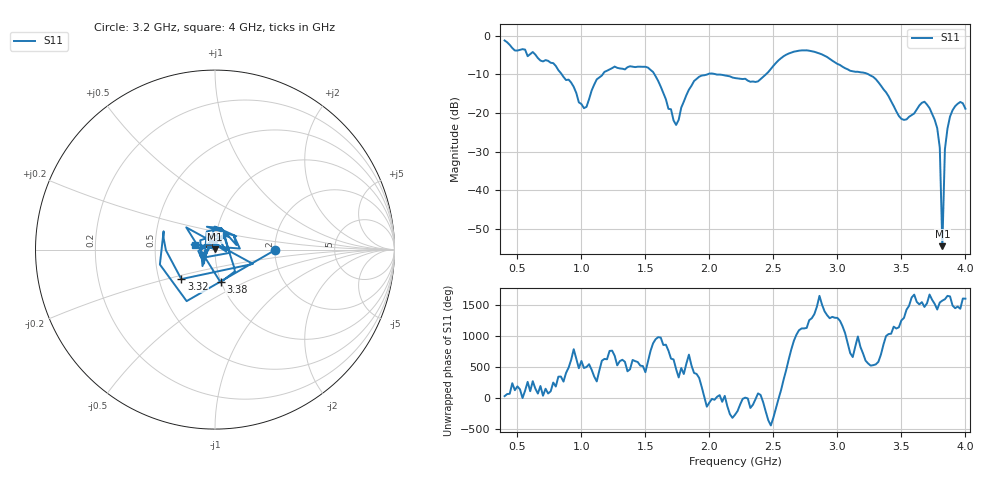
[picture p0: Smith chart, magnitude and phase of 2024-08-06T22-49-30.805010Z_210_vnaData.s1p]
!Created with skrf (http://scikit-rf.org).
# Hz S RI R 50.0
!freq ReS11 ImS11
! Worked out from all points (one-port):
!   181 points, 400 MHz to 4 GHz, reference 50 ohm
!   lowest |S11| = -54.5 dB at 3.82 GHz (marker M1), VSWR 1.00, Z = 49.9 + j0.134 ohm
!   |S11| at or under -10 dB: 1.571 GHz to 1.986 GHz (414.9 MHz wide, 23.3 % of centre); 2.051 GHz to 2.442 GHz (390.7 MHz wide, 17.4 % of centre); 3.243 GHz to end of sweep (the widest 3 of 4)
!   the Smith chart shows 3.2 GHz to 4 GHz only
!   S11 on the Smith chart (normalised r, x): 3.2 GHz: 2.00, -0.01; 3.32 GHz: 0.65, -0.23; 3.38 GHz: 0.99, -0.38; 4 GHz: 0.80, +0.04
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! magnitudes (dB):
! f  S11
! 400 MHz  -1.2
! 780 MHz  -7.1
! 860 MHz  -10.7
! 1.02 GHz  -18.8
! 1.12 GHz  -11.3
! 1.3 GHz  -8.5
! 1.56 GHz  -9.4
! 1.72 GHz  -22.0
! 1.76 GHz  -21.8
! 1.84 GHz  -14.0
! 1.92 GHz  -10.6
! 2.2 GHz  -11.0
! 2.38 GHz  -11.8
! 2.66 GHz  -4.1
! 3.1 GHz  -9.1
! 3.2 GHz  -9.5
! 3.32 GHz  -12.1
! 3.38 GHz  -14.7
! 3.5 GHz  -21.5
! 3.56 GHz  -21.0
! 3.68 GHz  -17.1
! 3.78 GHz  -24.0
! 3.8 GHz  -29.0
! 3.82 GHz  -54.5
! 3.84 GHz  -29.4
! 3.86 GHz  -24.1
! 3.92 GHz  -18.3
! 4 GHz  -18.9
